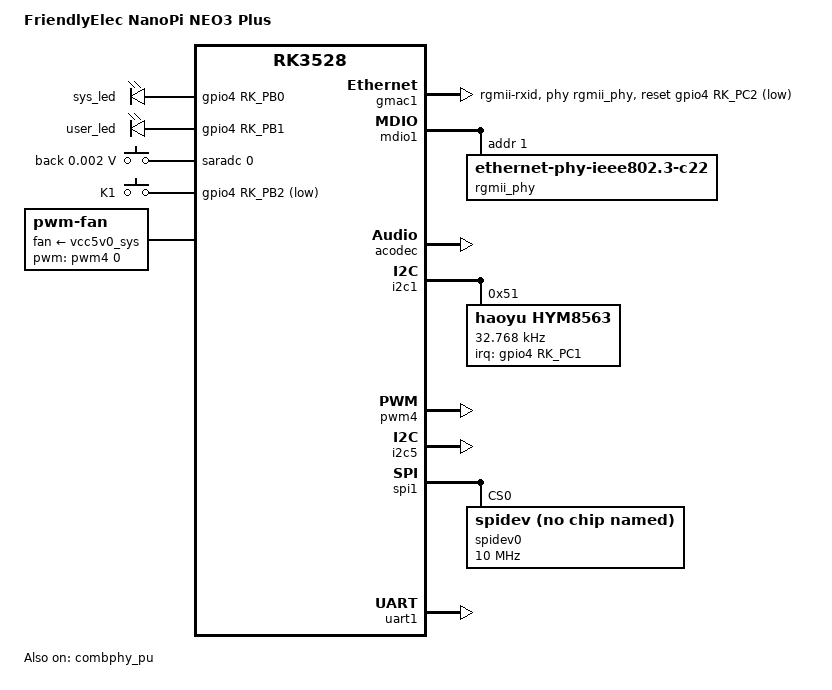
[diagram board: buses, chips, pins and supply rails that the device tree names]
// SPDX-License-Identifier: (GPL-2.0+ OR MIT)
/*
 * Copyright (c) 2024 FriendlyElec Computer Tech. Co., Ltd.
 * (http://www.friendlyelec.com)
 */

/dts-v1/;

#include "rk3528-nanopi-common.dtsi"

/ {
	model = "FriendlyElec NanoPi NEO3 Plus";
	compatible = "friendlyelec,nanopi-neo3-plus", "rockchip,rk3528";

	leds: gpio-leds {
		compatible = "gpio-leds";

		sys_led: led-0 {
			gpios = <&gpio4 RK_PB0 GPIO_ACTIVE_HIGH>;
			label = "sys_led";
			linux,default-trigger = "heartbeat";
			pinctrl-names = "default";
			pinctrl-0 = <&sys_led_pin>;
		};

		user_led: led-1 {
			gpios = <&gpio4 RK_PB1 GPIO_ACTIVE_HIGH>;
			label = "user_led";
			pinctrl-names = "default";
			pinctrl-0 = <&user_led_pin>;
		};
	};

	adc_keys: adc-keys {
		compatible = "adc-keys";
		io-channels = <&saradc 0>;
		io-channel-names = "buttons";
		keyup-threshold-microvolt = <1800000>;
		poll-interval = <100>;

		back-key {
			label = "back";
			linux,code = <KEY_BACK>;
			press-threshold-microvolt = <1750>;
		};
	};

	gpio_keys: gpio-keys {
		compatible = "gpio-keys";
		pinctrl-names = "default";
		pinctrl-0 = <&key1_pin>;

		button@1 {
			debounce-interval = <50>;
			gpios = <&gpio4 RK_PB2 GPIO_ACTIVE_LOW>;
			label = "K1";
			linux,code = <BTN_1>;
			wakeup-source;
		};
	};

	fan: pwm-fan {
		compatible = "pwm-fan";
		#cooling-cells = <2>;
		fan-supply = <&vcc5v0_sys>;
		pwms = <&pwm4 0 50000 0>;
		cooling-levels = <0 35 64 100 150 255>;
		rockchip,hold-time-ms = <2000>;
		rockchip,temp-trips = <
			50000   1
			55000   2
			60000   3
			65000   4
			70000   5
		>;
	};
};

&mach {
	hwrev = <2>;
	model = "NanoPi NEO3 Plus";
};

&gmac1 {
	/* Use rgmii-rxid mode to disable rx delay inside Soc */
	phy-mode = "rgmii-rxid";
	clock_in_out = "output";

	snps,reset-gpio = <&gpio4 RK_PC2 GPIO_ACTIVE_LOW>;
	snps,reset-active-low;
	/* Reset time is 20ms, 100ms for rtl8211f */
	snps,reset-delays-us = <0 20000 100000>;

	tx_delay = <0x30>;
	/* rx_delay = <0x3f>; */

	pinctrl-names = "default";
	pinctrl-0 = <&rgmii_miim
		     &rgmii_tx_bus2
		     &rgmii_rx_bus2
		     &rgmii_rgmii_clk
		     &rgmii_rgmii_bus
		     &eth_pins>;

	phy-handle = <&rgmii_phy>;
	status = "okay";
};

&mdio1 {
	rgmii_phy: phy@1 {
		compatible = "ethernet-phy-ieee802.3-c22";
		reg = <0x1>;
		realtek,ledsel = <0xae00>;
	};
};

&acodec {
	pa-ctl-gpios = <&gpio1 RK_PA0 GPIO_ACTIVE_LOW>;
	status = "okay";
};

&combphy_pu {
	status = "okay";
};

&i2c1 {
	status = "okay";
	pinctrl-names = "default";
	pinctrl-0 = <&i2c1m0_xfer>;

	hym8563: hym8563@51 {
		compatible = "haoyu,hym8563";
		reg = <0x51>;
		#clock-cells = <0>;
		clock-frequency = <32768>;
		clock-output-names = "hym8563";
		pinctrl-names = "default";
		pinctrl-0 = <&rtc_int>;

		interrupt-parent = <&gpio4>;
		interrupts = <RK_PC1 IRQ_TYPE_LEVEL_LOW>;
		wakeup-source;
	};
};

&pinctrl {
	leds {
		sys_led_pin: sys-led-pin {
			rockchip,pins = <4 RK_PB0 RK_FUNC_GPIO &pcfg_pull_none>;
		};

		user_led_pin: user-led-pin {
			rockchip,pins = <4 RK_PB1 RK_FUNC_GPIO &pcfg_pull_none>;
		};
	};

	gpio-key {
		key1_pin: key1-pin {
			rockchip,pins = <4 RK_PB2 RK_FUNC_GPIO &pcfg_pull_up>;
		};
	};

	hym8563 {
		rtc_int: rtc-int {
			rockchip,pins = <4 RK_PC1 RK_FUNC_GPIO &pcfg_pull_none>;
		};
	};
};

&pwm4 {
	status = "okay";
};

/* GPIO Connector */
&gpio1 {
	gpio-line-names =
		/* GPIO1 A0-A7 */
		"", "", "", "",
		"", "", "", "",
		/* GPIO1 B0-B7 */
		"", "",
		"PIN_05 [I2C5_SCL_M0]", "PIN_03 [I2C5_SDA_M0]",
		"PIN_16", "PIN_18",
		"PIN_23 [SPI1_CLK]", "PIN_19 [SPI1_MOSI]",
		/* GPIO1 C0-C7 */
		"PIN_21 [SPI1_MISO]", "PIN_24 [SPI1_CSN0]", "PIN_22 [SPI1_CSN1]", "",
		"", "", "", "",
		/* GPIO1 D0-D7 */
		"", "", "", "",
		"", "", "", "";
};

&gpio4 {
	gpio-line-names =
		/* GPIO4 A0-A7 */
		"PIN_15", "", "", "",
		"PIN_12", "PIN_11", "PIN_08 [UART1_TX_M0]", "PIN_10 [UART1_RX_M0]",
		/* GPIO4 B0-B7 */
		"", "", "", "",
		"PIN_13", "", "", "",
		/* GPIO4 C0-C7 */
		"", "", "", "PIN_07",
		"", "", "PIN_26", "",
		/* GPIO4 D0-D7 */
		"", "", "", "",
		"", "", "", "";
};

&i2c5 {
	status = "okay";
};

&spi1 {
	status = "okay";
	num-cs = <2>;
	pinctrl-0 = <&spi1_csn0 &spi1_csn1 &spi1_pins>;

	spidev0: spidev@0 {
		status = "okay";
		compatible = "rockchip,spidev";
		reg = <0>;
		spi-max-frequency = <10000000>;
	};
};

&uart1 {
	pinctrl-names = "default";
	pinctrl-0 = <&uart1m0_xfer>;
	status = "okay";
};
